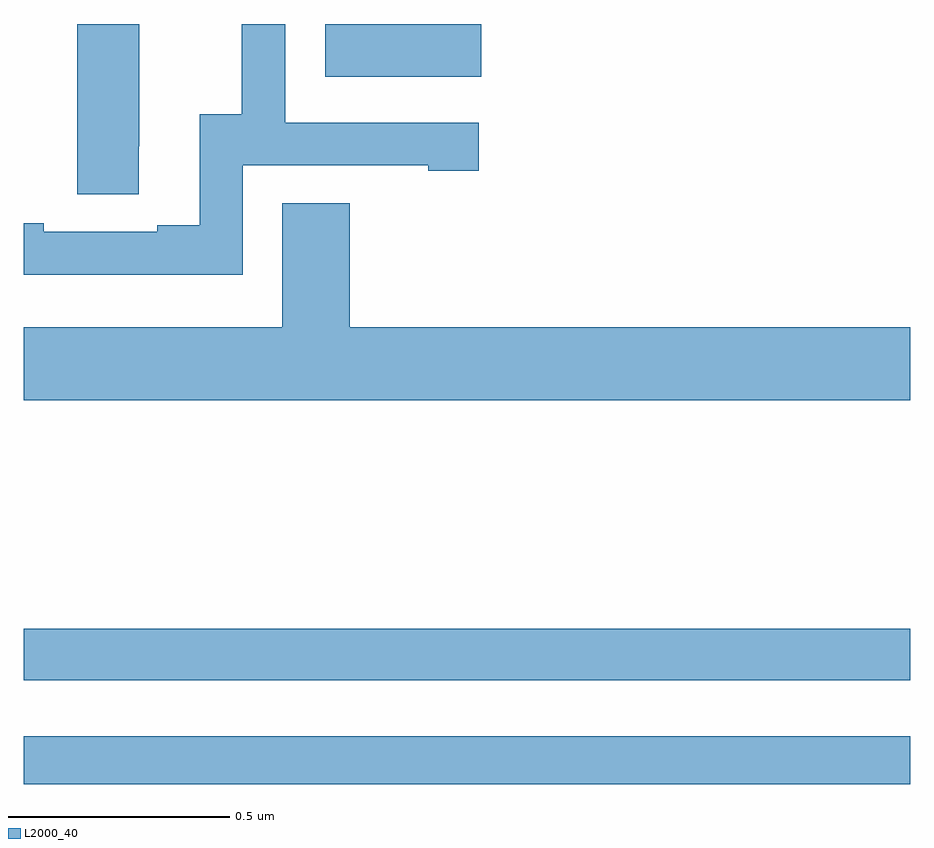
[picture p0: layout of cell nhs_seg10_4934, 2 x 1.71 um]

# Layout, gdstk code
import gdstk
lib = gdstk.Library(unit=1e-6, precision=1e-09)
def R(c, l, rs):  # rectangles x0, y0, x1, y1
    for r in rs: c.add(gdstk.rectangle(r[:2], r[2:], *l))
def P(c, l, *ps):  # polygons
    for p in ps: c.add(gdstk.Polygon(p, *l))
L2000_40 = (2000, 40)

nhs_seg10_4934 = lib.new_cell('nhs_seg10_4934')
R(nhs_seg10_4934, L2000_40, [(172,1296.786,174,1296.894), (172,1297.02,174,1297.136), (172.68,1298.381,173.032,1298.5)])
P(nhs_seg10_4934, L2000_40, [(172.494,1298.181),(172.913,1298.181),(172.913,1298.169),(173.026,1298.169),(173.026,1298.277),(172.59,1298.277),(172.59,1298.5),(172.492,1298.5),(172.492,1298.297),(172.397,1298.297),(172.397,1298.046),(172.301,1298.046),(172.301,1298.031),(172.045,1298.031),(172.045,1298.051),(172,1298.051),(172,1297.935),(172.494,1297.935)],
  [(172.26,1298.224),(172.261,1298.224),(172.261,1298.5),(172.121,1298.5),(172.121,1298.116),(172.26,1298.116)],
  [(174,1297.816),(172.736,1297.816),(172.736,1298.096),(172.583,1298.096),(172.583,1297.816),(172,1297.816),(172,1297.652),(174,1297.652)])

lib.write_gds('nhs_seg10_4934.gds')
